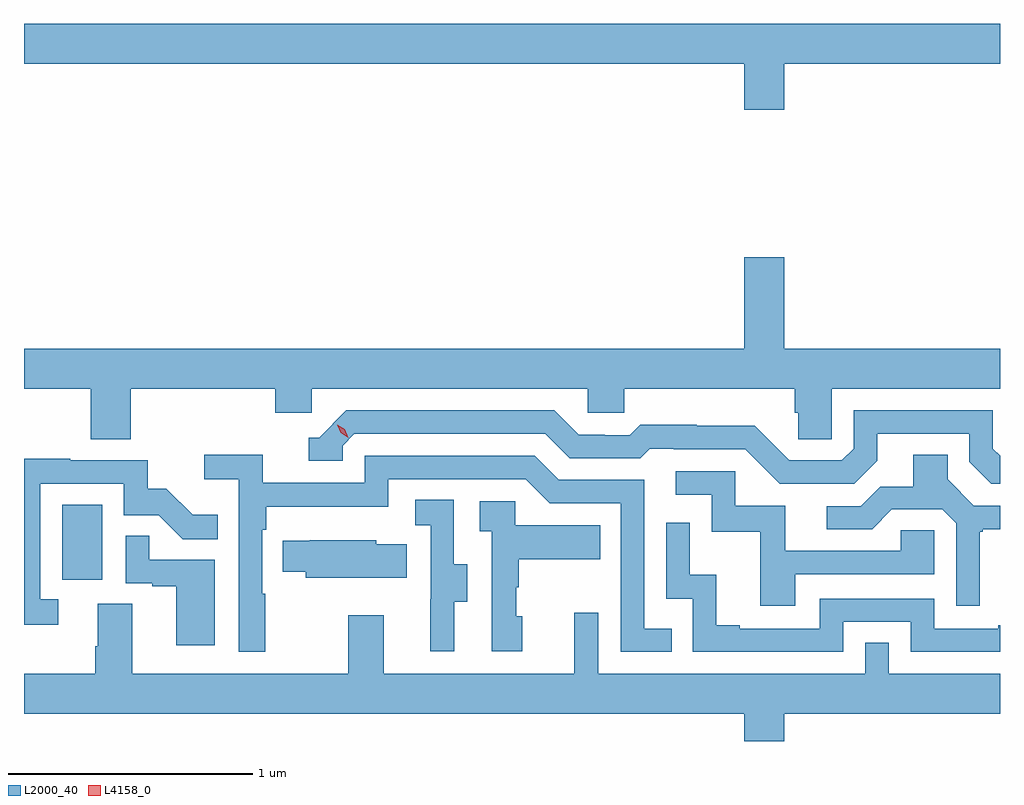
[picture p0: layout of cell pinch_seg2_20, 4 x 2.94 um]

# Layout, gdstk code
import gdstk
lib = gdstk.Library(unit=1e-6, precision=1e-09)
def R(c, l, rs):  # rectangles x0, y0, x1, y1
    for r in rs: c.add(gdstk.rectangle(r[:2], r[2:], *l))
def P(c, l, *ps):  # polygons
    for p in ps: c.add(gdstk.Polygon(p, *l))
L2000_40 = (2000, 40)
L4158_0 = (4158, 0)

pinch_seg2_20 = lib.new_cell('pinch_seg2_20')
R(pinch_seg2_20, L2000_40, [(1097.276,649.518,1097.44,649.825)])
P(pinch_seg2_20, L2000_40, [(1100.236,651.632),(1101.12,651.632),(1101.12,651.796),(1097.12,651.796),(1097.12,651.632),(1100.072,651.632),(1100.072,651.444),(1100.236,651.444)],
  [(1097.558,650.3),(1098.149,650.3),(1098.149,650.202),(1098.3,650.202),(1098.3,650.3),(1099.431,650.3),(1099.431,650.202),(1099.581,650.202),(1099.581,650.3),(1100.279,650.3),(1100.279,650.202),(1100.293,650.202),(1100.293,650.092),(1100.43,650.092),(1100.43,650.3),(1101.12,650.3),(1101.12,650.464),(1100.236,650.464),(1100.236,650.839),(1100.072,650.839),(1100.072,650.464),(1097.12,650.464),(1097.12,650.3),(1097.393,650.3),(1097.393,650.092),(1097.558,650.092)],
  [(1100.617,650.005),(1100.617,650.115),(1100.994,650.115),(1100.994,650.001),(1101.084,649.911),(1101.12,649.911),(1101.12,650.025),(1101.09,650.055),(1101.09,650.211),(1100.52,650.211),(1100.52,650.055),(1100.472,650.007),(1100.256,650.007),(1100.114,650.149),(1099.878,650.149),(1099.878,650.152),(1099.645,650.152),(1099.603,650.109),(1099.5,650.109),(1099.5,650.112),(1099.393,650.112),(1099.294,650.211),(1098.441,650.211),(1098.33,650.1),(1098.287,650.1),(1098.287,650.004),(1098.426,650.004),(1098.426,650.067),(1098.474,650.115),(1099.257,650.115),(1099.356,650.016),(1099.645,650.016),(1099.684,650.055),(1099.783,650.055),(1099.783,650.052),(1100.076,650.052),(1100.217,649.911),(1100.523,649.911)],
  [(1101.037,649.713),(1101.049,649.713),(1101.049,649.724),(1101.12,649.724),(1101.12,649.821),(1101.012,649.821),(1100.905,649.928),(1100.905,650.03),(1100.765,650.03),(1100.765,649.898),(1100.63,649.898),(1100.55,649.818),(1100.409,649.818),(1100.409,649.725),(1100.596,649.725),(1100.677,649.806),(1100.883,649.806),(1100.94,649.749),(1100.94,649.41),(1101.037,649.41)],
  [(1098.109,649.46),(1098.096,649.46),(1098.096,649.721),(1098.113,649.721),(1098.113,649.817),(1098.612,649.817),(1098.612,649.929),(1099.176,649.929),(1099.275,649.83),(1099.566,649.83),(1099.566,649.221),(1099.775,649.221),(1099.775,649.317),(1099.662,649.317),(1099.662,649.926),(1099.312,649.926),(1099.213,650.025),(1098.516,650.025),(1098.516,649.914),(1098.098,649.914),(1098.098,650.03),(1097.859,650.03),(1097.859,649.928),(1098,649.928),(1098,649.221),(1098.109,649.221)],
  [(1097.26,649.437),(1097.187,649.437),(1097.187,649.911),(1097.529,649.911),(1097.529,649.782),(1097.673,649.782),(1097.771,649.684),(1097.915,649.684),(1097.915,649.783),(1097.811,649.783),(1097.704,649.89),(1097.628,649.89),(1097.628,650.007),(1097.309,650.007),(1097.309,650.012),(1097.12,650.012),(1097.12,649.332),(1097.26,649.332)],
  [(1100.281,649.539),(1100.85,649.539),(1100.85,649.719),(1100.713,649.719),(1100.713,649.635),(1100.239,649.635),(1100.239,649.821),(1100.034,649.821),(1100.034,649.962),(1099.791,649.962),(1099.791,649.866),(1099.938,649.866),(1099.938,649.713),(1100.137,649.713),(1100.137,649.41),(1100.281,649.41)],
  [(1098.883,649.426),(1098.937,649.426),(1098.937,649.581),(1098.882,649.581),(1098.882,649.844),(1098.723,649.844),(1098.723,649.741),(1098.786,649.741),(1098.786,649.437),(1098.785,649.437),(1098.785,649.224),(1098.883,649.224)],
  [(1099.162,649.368),(1099.137,649.368),(1099.137,649.487),(1099.147,649.487),(1099.147,649.601),(1099.481,649.601),(1099.481,649.741),(1099.134,649.741),(1099.134,649.839),(1098.987,649.839),(1098.987,649.715),(1099.038,649.715),(1099.038,649.224),(1099.162,649.224)],
  [(1100.478,649.344),(1100.754,649.344),(1100.754,649.221),(1101.12,649.221),(1101.12,649.33),(1101.113,649.33),(1101.113,649.317),(1100.85,649.317),(1100.85,649.44),(1100.382,649.44),(1100.382,649.317),(1100.053,649.317),(1100.053,649.33),(1099.958,649.33),(1099.958,649.538),(1099.848,649.538),(1099.848,649.75),(1099.752,649.75),(1099.752,649.44),(1099.86,649.44),(1099.86,649.221),(1100.478,649.221)],
  [(1097.902,649.599),(1097.633,649.599),(1097.633,649.697),(1097.538,649.697),(1097.538,649.503),(1097.645,649.503),(1097.645,649.491),(1097.744,649.491),(1097.744,649.248),(1097.902,649.248)],
  [(1098.689,649.663),(1098.564,649.663),(1098.564,649.678),(1098.292,649.678),(1098.292,649.677),(1098.181,649.677),(1098.181,649.549),(1098.275,649.549),(1098.275,649.526),(1098.689,649.526)],
  [(1100.236,648.968),(1101.12,648.968),(1101.12,649.132),(1100.664,649.132),(1100.664,649.259),(1100.568,649.259),(1100.568,649.132),(1099.473,649.132),(1099.473,649.381),(1099.376,649.381),(1099.376,649.132),(1098.595,649.132),(1098.595,649.372),(1098.448,649.372),(1098.448,649.132),(1097.563,649.132),(1097.563,649.418),(1097.423,649.418),(1097.423,649.244),(1097.411,649.244),(1097.411,649.132),(1097.12,649.132),(1097.12,648.968),(1100.072,648.968),(1100.072,648.855),(1100.236,648.855)])
P(pinch_seg2_20, L4158_0, [(1098.449,650.1),(1098.418,650.12),(1098.403,650.153),(1098.403,650.153),(1098.403,650.153),(1098.434,650.133),(1098.449,650.1),(1098.449,650.1)])

lib.write_gds('pinch_seg2_20.gds')
